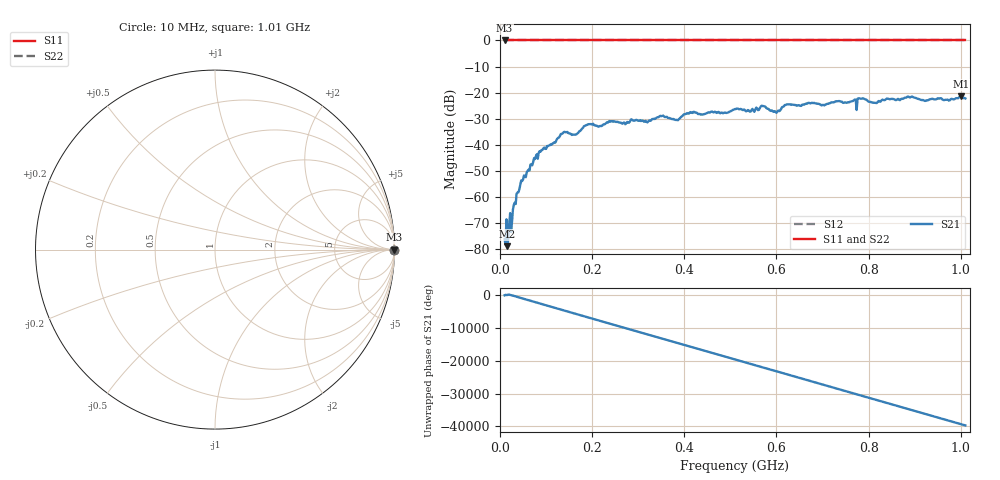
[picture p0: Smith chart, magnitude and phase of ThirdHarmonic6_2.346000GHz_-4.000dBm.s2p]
! 8/17/2025 3:29:59 AM
! C:\ANRITSUVNA\TEMP\TEMP.S2P
! CHANNEL.1
! TR.MEASUREMENT
! RAW.DATA
! RF.CORRECTION.OFF
! AVERAGING.OFF
! IF.BANDWIDTH: 5KHZ
! SWEEPTYPE:  FREQ.SWEEP(Linear)
! Reference Plane Port Info
! PORT:  PORT1  PORT2
! DISTANCE:  0  m  0  m
! TIME:  0  s  0  s
! PHASE.OFFSET:  0  deg.  0  deg.
! LOSS:  0  dB  0  dB
! REF.LOSS:  0  dB  0  dB
! REF.FREQ:  0  Hz  0  Hz
! Power Info
! POWER:  -20  dBm  -20  dBm
! EFF.POWER:  -20  dBm  -20  dBm
! SOURCE.ATTEN:  0  dB  0  dB
! TEST.ATTEN:  0  dB  0  dB
# GHZ S RI R 50.0
! FREQ.GHZ  S11RE  S11IM  S21RE  S21IM  S12RE  S12IM  S22RE  S22IM
!; PortSelection: Port_12
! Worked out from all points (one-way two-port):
!   501 points, 10 MHz to 1.01 GHz, reference 50 ohm
!   highest |S21| = -21.45 dB at 1 GHz (marker M1); lowest = -78.8 dB at 16 MHz (marker M2)
!   lowest |S11| = 0.0 dB at 10 MHz (marker M3)
!   |S11| at or under -10 dB: nowhere
!   |S22| runs from 0.0 to 0.0 dB; largest |S21 - S12| = 1.1
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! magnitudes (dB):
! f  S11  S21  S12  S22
! 10 MHz  0.0  -76.2  0.0  0.0
! 16 MHz  0.0  -78.8  0.0  0.0
! 18 MHz  0.0  -75.9  0.0  0.0
! 20 MHz  0.0  -70.4  0.0  0.0
! 32 MHz  0.0  -62.2  0.0  0.0
! 42 MHz  0.0  -57.0  0.0  0.0
! 76 MHz  0.0  -45.5  0.0  0.0
! 136 MHz  0.0  -35.6  0.0  0.0
! 162 MHz  0.0  -36.0  0.0  0.0
! 178 MHz  0.0  -33.8  0.0  0.0
! 194 MHz  0.0  -32.1  0.0  0.0
! 344 MHz  0.0  -29.4  0.0  0.0
! 384 MHz  0.0  -30.5  0.0  0.0
! 416 MHz  0.0  -27.7  0.0  0.0
! 510 MHz  0.0  -26.3  0.0  0.0
! 572 MHz  0.0  -25.1  0.0  0.0
! 598 MHz  0.0  -27.3  0.0  0.0
! 622 MHz  0.0  -24.5  0.0  0.0
! 678 MHz  0.0  -23.9  0.0  0.0
! 844 MHz  0.0  -22.4  0.0  0.0
! 1 GHz  0.0  -21.5  0.0  0.0
! 1.01 GHz  0.0  -22.2  0.0  0.0
